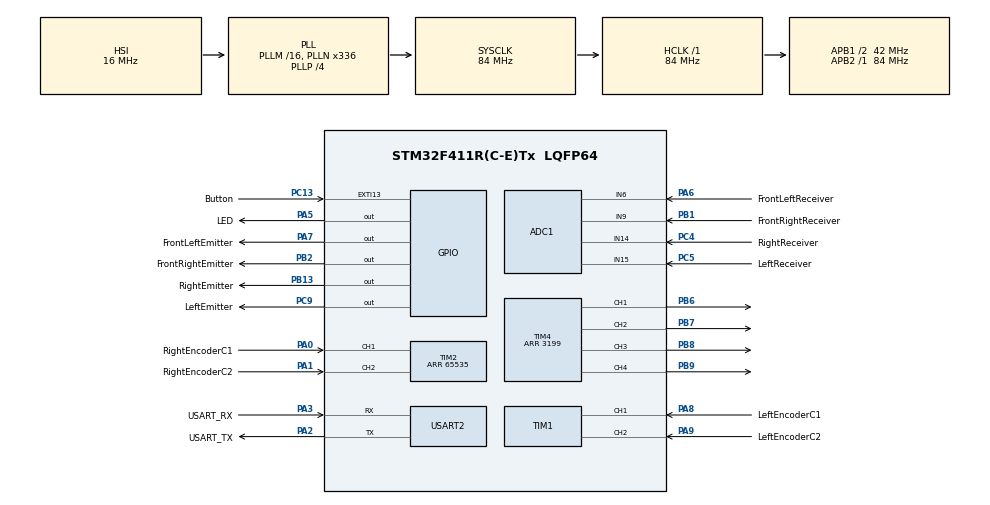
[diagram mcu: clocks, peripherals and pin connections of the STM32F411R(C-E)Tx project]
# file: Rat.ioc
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ADC1.Channel-0\#ChannelRegularConversion=ADC_CHANNEL_15
ADC1.ContinuousConvMode=ENABLE
ADC1.DMAContinuousRequests=ENABLE
ADC1.NbrOfConversionFlag=1
ADC1.Rank-0\#ChannelRegularConversion=1
ADC1.SamplingTime-0\#ChannelRegularConversion=ADC_SAMPLETIME_3CYCLES
ADC1.master=1
Dma.ADC1.0.Direction=DMA_PERIPH_TO_MEMORY
Dma.ADC1.0.FIFOMode=DMA_FIFOMODE_DISABLE
Dma.ADC1.0.Instance=DMA2_Stream0
Dma.ADC1.0.MemDataAlignment=DMA_MDATAALIGN_HALFWORD
Dma.ADC1.0.MemInc=DMA_MINC_ENABLE
Dma.ADC1.0.Mode=DMA_CIRCULAR
Dma.ADC1.0.PeriphDataAlignment=DMA_PDATAALIGN_HALFWORD
Dma.ADC1.0.PeriphInc=DMA_PINC_DISABLE
Dma.ADC1.0.Priority=DMA_PRIORITY_LOW
Dma.Request0=ADC1
Mcu.Family=STM32F4
Mcu.Name=STM32F411R(C-E)Tx
Mcu.Package=LQFP64
NVIC.DMA2_Stream0_IRQn=true\:0\:0\:false\:false\:true\:false\:true\:true
NVIC.EXTI15_10_IRQn=true\:0\:0\:false\:false\:true\:true\:true\:true
NVIC.PriorityGroup=NVIC_PRIORITYGROUP_0
NVIC.TIM4_IRQn=true\:0\:0\:false\:false\:true\:true\:true\:true
PA0-WKUP.GPIO_Label=RightEncoderC1
PA0-WKUP.Signal=S_TIM2_CH1_ETR
PA1.GPIO_Label=RightEncoderC2
PA1.Signal=S_TIM2_CH2
PA13.GPIO_Label=TMS
PA13.Mode=Serial_Wire
PA13.Signal=SYS_JTMS-SWDIO
PA14.GPIO_Label=TCK
PA14.Mode=Serial_Wire
PA14.Signal=SYS_JTCK-SWCLK
PA2.GPIO_Label=USART_TX
PA2.Mode=Asynchronous
PA2.Signal=USART2_TX
PA3.GPIO_Label=USART_RX
PA3.Mode=Asynchronous
PA3.Signal=USART2_RX
PA5.GPIO_Label=LED
PA5.Signal=GPIO_Output
PA6.GPIO_Label=FrontLeftReceiver
PA6.Signal=ADCx_IN6
PA7.GPIO_Label=FrontLeftEmitter
PA7.Signal=GPIO_Output
PA8.GPIO_Label=LeftEncoderC1
PA8.Signal=S_TIM1_CH1
PA9.GPIO_Label=LeftEncoderC2
PA9.Signal=S_TIM1_CH2
PB1.GPIO_Label=FrontRightReceiver
PB1.Signal=ADCx_IN9
PB13.GPIO_Label=RightEmitter
PB13.Signal=GPIO_Output
PB2.GPIO_Label=FrontRightEmitter
PB2.Signal=GPIO_Output
PB3.GPIO_Label=SWO
PB3.Signal=SYS_JTDO-SWO
PB6.Signal=S_TIM4_CH1
PB7.Signal=S_TIM4_CH2
PB8.Signal=S_TIM4_CH3
PB9.Signal=S_TIM4_CH4
PC13-ANTI_TAMP.GPIO_Label=Button
PC13-ANTI_TAMP.GPIO_ModeDefaultEXTI=GPIO_MODE_IT_FALLING
PC13-ANTI_TAMP.Signal=GPXTI13
PC14-OSC32_IN.Mode=LSE-External-Oscillator
PC14-OSC32_IN.Signal=RCC_OSC32_IN
PC15-OSC32_OUT.Mode=LSE-External-Oscillator
PC15-OSC32_OUT.Signal=RCC_OSC32_OUT
PC4.GPIO_Label=RightReceiver
PC4.Signal=ADCx_IN14
PC5.GPIO_Label=LeftReceiver
PC5.Signal=ADCx_IN15
PC9.GPIO_Label=LeftEmitter
PC9.Signal=GPIO_Output
PH0\ -\ OSC_IN.Mode=HSE-External-Clock-Source
PH0\ -\ OSC_IN.Signal=RCC_OSC_IN
PH1\ -\ OSC_OUT.Mode=HSE-External-Clock-Source
PH1\ -\ OSC_OUT.Signal=RCC_OSC_OUT
ProjectManager.HeapSize=0x200
ProjectManager.StackSize=0x400
ProjectManager.TargetToolchain=STM32CubeIDE
RCC.48MHZClocksFreq_Value=84000000
RCC.AHBFreq_Value=84000000
RCC.APB1CLKDivider=RCC_HCLK_DIV2
RCC.APB1Freq_Value=42000000
RCC.APB1TimFreq_Value=84000000
RCC.APB2Freq_Value=84000000
RCC.APB2TimFreq_Value=84000000
RCC.CortexFreq_Value=84000000
RCC.FLatency-AdvancedSettings=FLASH_LATENCY_2
RCC.HCLKFreq_Value=84000000
RCC.HSE_VALUE=8000000
RCC.HSI_VALUE=16000000
RCC.PLLN=336
RCC.PLLP=RCC_PLLP_DIV4
RCC.SYSCLKFreq_VALUE=84000000
RCC.SYSCLKSource=RCC_SYSCLKSOURCE_PLLCLK
RCC.VCOOutputFreq_Value=336000000
SH.ADCx_IN14.0=ADC1_IN14,IN14
SH.ADCx_IN15.0=ADC1_IN15,IN15
SH.ADCx_IN6.0=ADC1_IN6,IN6
SH.ADCx_IN9.0=ADC1_IN9,IN9
SH.S_TIM1_CH1.0=TIM1_CH1,Encoder_Interface
SH.S_TIM1_CH2.0=TIM1_CH2,Encoder_Interface
SH.S_TIM2_CH1_ETR.0=TIM2_CH1,Encoder_Interface
SH.S_TIM2_CH2.0=TIM2_CH2,Encoder_Interface
SH.S_TIM4_CH1.0=TIM4_CH1,PWM Generation1 CH1
SH.S_TIM4_CH2.0=TIM4_CH2,PWM Generation2 CH2
SH.S_TIM4_CH3.0=TIM4_CH3,PWM Generation3 CH3
SH.S_TIM4_CH4.0=TIM4_CH4,PWM Generation4 CH4
TIM1.EncoderMode=TIM_ENCODERMODE_TI12
TIM2.EncoderMode=TIM_ENCODERMODE_TI12
TIM2.Period=65535
TIM4.Channel-PWM\ Generation1\ CH1=TIM_CHANNEL_1
TIM4.Channel-PWM\ Generation2\ CH2=TIM_CHANNEL_2
TIM4.Channel-PWM\ Generation3\ CH3=TIM_CHANNEL_3
TIM4.Channel-PWM\ Generation4\ CH4=TIM_CHANNEL_4
TIM4.Period=3199
USART2.VirtualMode=VM_ASYNC
board=NUCLEO-F411RE

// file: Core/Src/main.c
/* USER CODE BEGIN Header */
/**
 ******************************************************************************
 * @file           : main.c
 * @brief          : Main program body
 ******************************************************************************
 * @attention
 *
 * Copyright (c) 2023 STMicroelectronics.
 * All rights reserved.
 *
 * This software is licensed under terms that can be found in the LICENSE file
 * in the root directory of this software component.
 * If no LICENSE file comes with this software, it is provided AS-IS.
 *
 ******************************************************************************
 */
/* USER CODE END Header */
#include "main.h"

/* USER CODE BEGIN Includes */
#include "encoders.h"
#include "motors.h"
#include "controller.h"
#include "pid.h"
#include "delay.h"
/* USER CODE END Includes */

ADC_HandleTypeDef hadc1;
DMA_HandleTypeDef hdma_adc1;

TIM_HandleTypeDef htim1;
TIM_HandleTypeDef htim2;
TIM_HandleTypeDef htim4;

UART_HandleTypeDef huart2;

/* USER CODE BEGIN PV */
int16_t left_counts = 0;
int16_t right_counts = 0;

int16_t left_IR;
int16_t right_IR;
int16_t front_left_IR;
int16_t front_right_IR;

/* USER CODE END PV */

void SystemClock_Config(void);
static void MX_GPIO_Init(void);
static void MX_DMA_Init(void);
static void MX_USART2_UART_Init(void);
static void MX_TIM1_Init(void);
static void MX_TIM2_Init(void);
static void MX_TIM4_Init(void);
static void MX_ADC1_Init(void);

int main(void)
{

  /* MCU Configuration--------------------------------------------------------*/

  /* Reset of all peripherals, Initializes the Flash interface and the Systick. */
  HAL_Init();

  /* USER CODE BEGIN Init */
  Delay_Init();

  /* USER CODE END Init */

  /* Configure the system clock */
  SystemClock_Config();

  /* Initialize all configured peripherals */
  MX_GPIO_Init();
  MX_DMA_Init();
  MX_USART2_UART_Init();
  MX_TIM1_Init();
  MX_TIM2_Init();
  MX_TIM4_Init();
  MX_ADC1_Init();
  /* USER CODE BEGIN 2 */
	HAL_TIM_Encoder_Start(&htim1, TIM_CHANNEL_ALL);
	HAL_TIM_Encoder_Start(&htim2, TIM_CHANNEL_ALL);
	HAL_TIM_PWM_Start(&htim4, TIM_CHANNEL_1);
	HAL_TIM_PWM_Start(&htim4, TIM_CHANNEL_2);
	HAL_TIM_PWM_Start(&htim4, TIM_CHANNEL_3);
	HAL_TIM_PWM_Start(&htim4, TIM_CHANNEL_4);

  /* USER CODE END 2 */

  /* Infinite loop */
  /* USER CODE BEGIN WHILE */

	uint16_t threshold = 686;

	while (1) {
		left_counts = getLeftEncoderCounts();
		right_counts = getRightEncoderCounts();

		left_IR = readLeftIR();
		right_IR = readRightIR();
		front_left_IR = readFrontLeftIR();
		front_right_IR = readFrontRightIR();

		uint8_t isWallF = 0;
		uint8_t isWallL = 0;
		uint8_t isWallR = 0;

		if(front_left_IR < threshold && front_right_IR < threshold) {
			isWallF = 1;
		} else if(left_IR < threshold) {
			isWallL = 1;
		} else if(right_IR < threshold) {
			isWallR = 1;
		}

		if(isWallF == 0) {
			move(1);
		} else if(isWallF == 1 && isWallR == 0) {
			turn(-1);
		} else {
			turn(1);
		}
    /* USER CODE END WHILE */

	}
}

void SystemClock_Config(void)
{
  RCC_OscInitTypeDef RCC_OscInitStruct = {0};
  RCC_ClkInitTypeDef RCC_ClkInitStruct = {0};

  /** Configure the main internal regulator output voltage
  */
  __HAL_RCC_PWR_CLK_ENABLE();
  __HAL_PWR_VOLTAGESCALING_CONFIG(PWR_REGULATOR_VOLTAGE_SCALE1);

  /** Initializes the RCC Oscillators according to the specified parameters
  * in the RCC_OscInitTypeDef structure.
  */
  RCC_OscInitStruct.OscillatorType = RCC_OSCILLATORTYPE_HSI;
  RCC_OscInitStruct.HSIState = RCC_HSI_ON;
  RCC_OscInitStruct.HSICalibrationValue = RCC_HSICALIBRATION_DEFAULT;
  RCC_OscInitStruct.PLL.PLLState = RCC_PLL_ON;
  RCC_OscInitStruct.PLL.PLLSource = RCC_PLLSOURCE_HSI;
  RCC_OscInitStruct.PLL.PLLM = 16;
  RCC_OscInitStruct.PLL.PLLN = 336;
  RCC_OscInitStruct.PLL.PLLP = RCC_PLLP_DIV4;
  RCC_OscInitStruct.PLL.PLLQ = 4;
  if (HAL_RCC_OscConfig(&RCC_OscInitStruct) != HAL_OK)
  {
    Error_Handler();
  }

  /** Initializes the CPU, AHB and APB buses clocks
  */
  RCC_ClkInitStruct.ClockType = RCC_CLOCKTYPE_HCLK|RCC_CLOCKTYPE_SYSCLK
                              |RCC_CLOCKTYPE_PCLK1|RCC_CLOCKTYPE_PCLK2;
  RCC_ClkInitStruct.SYSCLKSource = RCC_SYSCLKSOURCE_PLLCLK;
  RCC_ClkInitStruct.AHBCLKDivider = RCC_SYSCLK_DIV1;
  RCC_ClkInitStruct.APB1CLKDivider = RCC_HCLK_DIV2;
  RCC_ClkInitStruct.APB2CLKDivider = RCC_HCLK_DIV1;

  if (HAL_RCC_ClockConfig(&RCC_ClkInitStruct, FLASH_LATENCY_2) != HAL_OK)
  {
    Error_Handler();
  }
}

static void MX_ADC1_Init(void)
{

  ADC_ChannelConfTypeDef sConfig = {0};

  /** Configure the global features of the ADC (Clock, Resolution, Data Alignment and number of conversion)
  */
  hadc1.Instance = ADC1;
  hadc1.Init.ClockPrescaler = ADC_CLOCK_SYNC_PCLK_DIV4;
  hadc1.Init.Resolution = ADC_RESOLUTION_12B;
  hadc1.Init.ScanConvMode = DISABLE;
  hadc1.Init.ContinuousConvMode = ENABLE;
  hadc1.Init.DiscontinuousConvMode = DISABLE;
  hadc1.Init.ExternalTrigConvEdge = ADC_EXTERNALTRIGCONVEDGE_NONE;
  hadc1.Init.ExternalTrigConv = ADC_SOFTWARE_START;
  hadc1.Init.DataAlign = ADC_DATAALIGN_RIGHT;
  hadc1.Init.NbrOfConversion = 1;
  hadc1.Init.DMAContinuousRequests = ENABLE;
  hadc1.Init.EOCSelection = ADC_EOC_SINGLE_CONV;
  if (HAL_ADC_Init(&hadc1) != HAL_OK)
  {
    Error_Handler();
  }

  /** Configure for the selected ADC regular channel its corresponding rank in the sequencer and its sample time.
  */
  sConfig.Channel = ADC_CHANNEL_15;
  sConfig.Rank = 1;
  sConfig.SamplingTime = ADC_SAMPLETIME_3CYCLES;
  if (HAL_ADC_ConfigChannel(&hadc1, &sConfig) != HAL_OK)
  {
    Error_Handler();
  }

}

static void MX_TIM1_Init(void)
{

  TIM_Encoder_InitTypeDef sConfig = {0};
  TIM_MasterConfigTypeDef sMasterConfig = {0};

  htim1.Instance = TIM1;
  htim1.Init.Prescaler = 0;
  htim1.Init.CounterMode = TIM_COUNTERMODE_UP;
  htim1.Init.Period = 65535;
  htim1.Init.ClockDivision = TIM_CLOCKDIVISION_DIV1;
  htim1.Init.RepetitionCounter = 0;
  htim1.Init.AutoReloadPreload = TIM_AUTORELOAD_PRELOAD_DISABLE;
  sConfig.EncoderMode = TIM_ENCODERMODE_TI12;
  sConfig.IC1Polarity = TIM_ICPOLARITY_RISING;
  sConfig.IC1Selection = TIM_ICSELECTION_DIRECTTI;
  sConfig.IC1Prescaler = TIM_ICPSC_DIV1;
  sConfig.IC1Filter = 0;
  sConfig.IC2Polarity = TIM_ICPOLARITY_RISING;
  sConfig.IC2Selection = TIM_ICSELECTION_DIRECTTI;
  sConfig.IC2Prescaler = TIM_ICPSC_DIV1;
  sConfig.IC2Filter = 0;
  if (HAL_TIM_Encoder_Init(&htim1, &sConfig) != HAL_OK)
  {
    Error_Handler();
  }
  sMasterConfig.MasterOutputTrigger = TIM_TRGO_RESET;
  sMasterConfig.MasterSlaveMode = TIM_MASTERSLAVEMODE_DISABLE;
  if (HAL_TIMEx_MasterConfigSynchronization(&htim1, &sMasterConfig) != HAL_OK)
  {
    Error_Handler();
  }

}

static void MX_TIM2_Init(void)
{

  TIM_Encoder_InitTypeDef sConfig = {0};
  TIM_MasterConfigTypeDef sMasterConfig = {0};

  htim2.Instance = TIM2;
  htim2.Init.Prescaler = 0;
  htim2.Init.CounterMode = TIM_COUNTERMODE_UP;
  htim2.Init.Period = 65535;
  htim2.Init.ClockDivision = TIM_CLOCKDIVISION_DIV1;
  htim2.Init.AutoReloadPreload = TIM_AUTORELOAD_PRELOAD_DISABLE;
  sConfig.EncoderMode = TIM_ENCODERMODE_TI12;
  sConfig.IC1Polarity = TIM_ICPOLARITY_RISING;
  sConfig.IC1Selection = TIM_ICSELECTION_DIRECTTI;
  sConfig.IC1Prescaler = TIM_ICPSC_DIV1;
  sConfig.IC1Filter = 0;
  sConfig.IC2Polarity = TIM_ICPOLARITY_RISING;
  sConfig.IC2Selection = TIM_ICSELECTION_DIRECTTI;
  sConfig.IC2Prescaler = TIM_ICPSC_DIV1;
  sConfig.IC2Filter = 0;
  if (HAL_TIM_Encoder_Init(&htim2, &sConfig) != HAL_OK)
  {
    Error_Handler();
  }
  sMasterConfig.MasterOutputTrigger = TIM_TRGO_RESET;
  sMasterConfig.MasterSlaveMode = TIM_MASTERSLAVEMODE_DISABLE;
  if (HAL_TIMEx_MasterConfigSynchronization(&htim2, &sMasterConfig) != HAL_OK)
  {
    Error_Handler();
  }

}

static void MX_TIM4_Init(void)
{

  TIM_MasterConfigTypeDef sMasterConfig = {0};
  TIM_OC_InitTypeDef sConfigOC = {0};

  htim4.Instance = TIM4;
  htim4.Init.Prescaler = 0;
  htim4.Init.CounterMode = TIM_COUNTERMODE_UP;
  htim4.Init.Period = 3199;
  htim4.Init.ClockDivision = TIM_CLOCKDIVISION_DIV1;
  htim4.Init.AutoReloadPreload = TIM_AUTORELOAD_PRELOAD_DISABLE;
  if (HAL_TIM_PWM_Init(&htim4) != HAL_OK)
  {
    Error_Handler();
  }
  sMasterConfig.MasterOutputTrigger = TIM_TRGO_RESET;
  sMasterConfig.MasterSlaveMode = TIM_MASTERSLAVEMODE_DISABLE;
  if (HAL_TIMEx_MasterConfigSynchronization(&htim4, &sMasterConfig) != HAL_OK)
  {
    Error_Handler();
  }
  sConfigOC.OCMode = TIM_OCMODE_PWM1;
  sConfigOC.Pulse = 0;
  sConfigOC.OCPolarity = TIM_OCPOLARITY_HIGH;
  sConfigOC.OCFastMode = TIM_OCFAST_DISABLE;
  if (HAL_TIM_PWM_ConfigChannel(&htim4, &sConfigOC, TIM_CHANNEL_1) != HAL_OK)
  {
    Error_Handler();
  }
  if (HAL_TIM_PWM_ConfigChannel(&htim4, &sConfigOC, TIM_CHANNEL_2) != HAL_OK)
  {
    Error_Handler();
  }
  if (HAL_TIM_PWM_ConfigChannel(&htim4, &sConfigOC, TIM_CHANNEL_3) != HAL_OK)
  {
    Error_Handler();
  }
  if (HAL_TIM_PWM_ConfigChannel(&htim4, &sConfigOC, TIM_CHANNEL_4) != HAL_OK)
  {
    Error_Handler();
  }
  HAL_TIM_MspPostInit(&htim4);

}

static void MX_USART2_UART_Init(void)
{

  huart2.Instance = USART2;
  huart2.Init.BaudRate = 115200;
  huart2.Init.WordLength = UART_WORDLENGTH_8B;
  huart2.Init.StopBits = UART_STOPBITS_1;
  huart2.Init.Parity = UART_PARITY_NONE;
  huart2.Init.Mode = UART_MODE_TX_RX;
  huart2.Init.HwFlowCtl = UART_HWCONTROL_NONE;
  huart2.Init.OverSampling = UART_OVERSAMPLING_16;
  if (HAL_UART_Init(&huart2) != HAL_OK)
  {
    Error_Handler();
  }

}

static void MX_DMA_Init(void)
{

  /* DMA controller clock enable */
  __HAL_RCC_DMA2_CLK_ENABLE();

  /* DMA interrupt init */
  /* DMA2_Stream0_IRQn interrupt configuration */
  HAL_NVIC_SetPriority(DMA2_Stream0_IRQn, 0, 0);
  HAL_NVIC_EnableIRQ(DMA2_Stream0_IRQn);

}

static void MX_GPIO_Init(void)
{
  GPIO_InitTypeDef GPIO_InitStruct = {0};

  /* GPIO Ports Clock Enable */
  __HAL_RCC_GPIOC_CLK_ENABLE();
  __HAL_RCC_GPIOH_CLK_ENABLE();
  __HAL_RCC_GPIOA_CLK_ENABLE();
  __HAL_RCC_GPIOB_CLK_ENABLE();

  /*Configure GPIO pin Output Level */
  HAL_GPIO_WritePin(GPIOA, LED_Pin|FrontLeftEmitter_Pin, GPIO_PIN_RESET);

  /*Configure GPIO pin Output Level */
  HAL_GPIO_WritePin(GPIOB, FrontRightEmitter_Pin|RightEmitter_Pin, GPIO_PIN_RESET);

  /*Configure GPIO pin Output Level */
  HAL_GPIO_WritePin(LeftEmitter_GPIO_Port, LeftEmitter_Pin, GPIO_PIN_RESET);

  /*Configure GPIO pin : Button_Pin */
  GPIO_InitStruct.Pin = Button_Pin;
  GPIO_InitStruct.Mode = GPIO_MODE_IT_FALLING;
  GPIO_InitStruct.Pull = GPIO_NOPULL;
  HAL_GPIO_Init(Button_GPIO_Port, &GPIO_InitStruct);

  /*Configure GPIO pins : LED_Pin FrontLeftEmitter_Pin */
  GPIO_InitStruct.Pin = LED_Pin|FrontLeftEmitter_Pin;
  GPIO_InitStruct.Mode = GPIO_MODE_OUTPUT_PP;
  GPIO_InitStruct.Pull = GPIO_NOPULL;
  GPIO_InitStruct.Speed = GPIO_SPEED_FREQ_LOW;
  HAL_GPIO_Init(GPIOA, &GPIO_InitStruct);

  /*Configure GPIO pins : FrontRightEmitter_Pin RightEmitter_Pin */
  GPIO_InitStruct.Pin = FrontRightEmitter_Pin|RightEmitter_Pin;
  GPIO_InitStruct.Mode = GPIO_MODE_OUTPUT_PP;
  GPIO_InitStruct.Pull = GPIO_NOPULL;
  GPIO_InitStruct.Speed = GPIO_SPEED_FREQ_LOW;
  HAL_GPIO_Init(GPIOB, &GPIO_InitStruct);

  /*Configure GPIO pin : LeftEmitter_Pin */
  GPIO_InitStruct.Pin = LeftEmitter_Pin;
  GPIO_InitStruct.Mode = GPIO_MODE_OUTPUT_PP;
  GPIO_InitStruct.Pull = GPIO_NOPULL;
  GPIO_InitStruct.Speed = GPIO_SPEED_FREQ_LOW;
  HAL_GPIO_Init(LeftEmitter_GPIO_Port, &GPIO_InitStruct);

  /* EXTI interrupt init*/
  HAL_NVIC_SetPriority(EXTI15_10_IRQn, 0, 0);
  HAL_NVIC_EnableIRQ(EXTI15_10_IRQn);

}

/* USER CODE BEGIN 4 */
void HAL_GPIO_EXTI_Callback(uint16_t GPIO_PIN) {
	if (GPIO_PIN == Button_Pin) {
		HAL_GPIO_WritePin(LED_GPIO_Port, LED_Pin, GPIO_PIN_SET);
	} else {
		HAL_GPIO_WritePin(LED_GPIO_Port, LED_Pin, GPIO_PIN_RESET);
	}
}

ADC_HandleTypeDef* Get_HADC1_Ptr(void)
{
	return &hadc1;
}

/* USER CODE END 4 */

void Error_Handler(void)
{
	__disable_irq();
	while (1) {
	}
}
